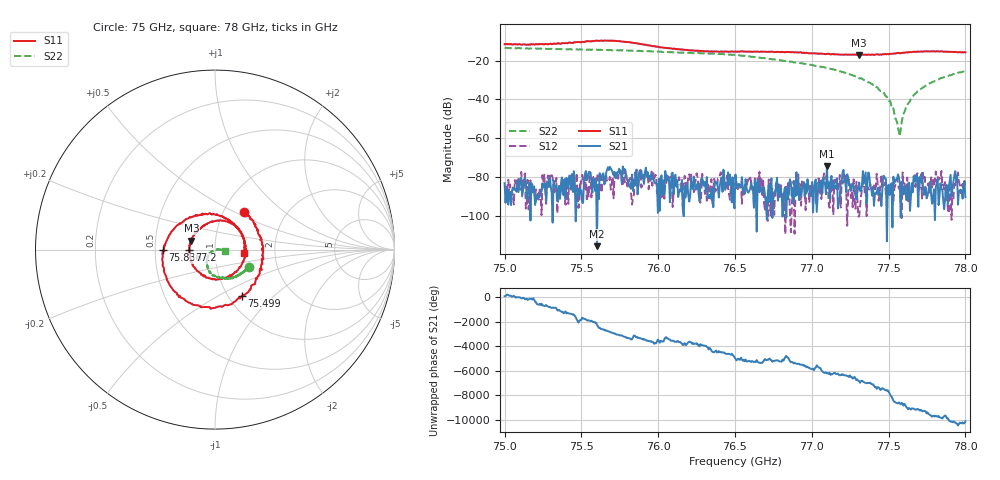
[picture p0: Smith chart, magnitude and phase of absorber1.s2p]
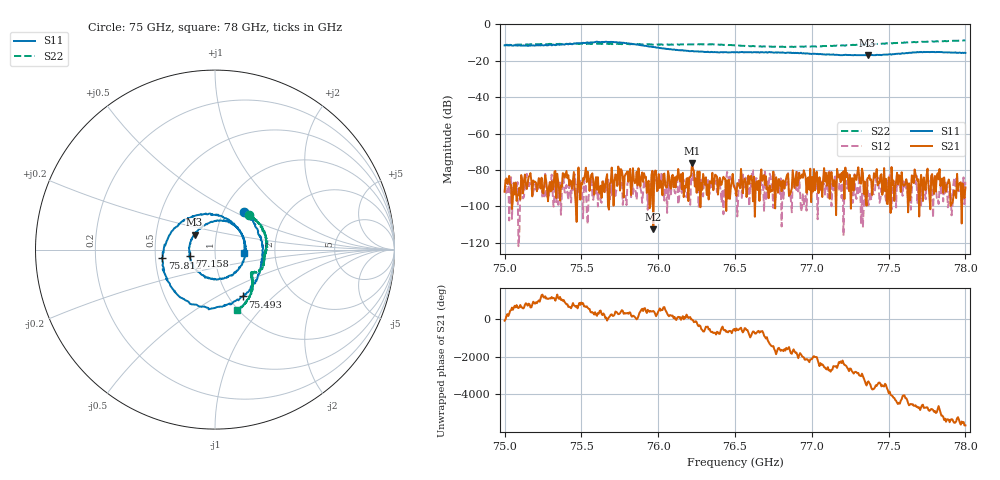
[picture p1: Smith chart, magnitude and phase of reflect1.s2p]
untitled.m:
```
% ----------------------------
% File paths
% ----------------------------
dut_file = 'absorber1.s2p';        % S2P file for the DUT (absorber)
ref_file = 'reflect1.s2p';   % S2P file for the reference (e.g., metal)

% ----------------------------
% Load S-parameter data
% ----------------------------
dut_data = sparameters(dut_file);
ref_data = sparameters(ref_file);

% Frequency vector (assumes both have same frequency points)
frequency = dut_data.Frequencies;  % in Hz

% Extract S11 (assumes 2-port file)
s11_dut = rfparam(dut_data, 2, 2);
s11_ref = rfparam(ref_data, 2, 2);

% ----------------------------
% Compute Reflected Power
% ----------------------------
P_dut = (-abs(s11_dut)+abs(s11_ref)).^2;
P_ref = abs(s11_dut).^2;

% Prevent division by zero
P_ref(P_ref == 0) = eps;

% ----------------------------
% Compute Absorption
% ----------------------------
absorption =1- P_dut./P_ref;
normalized_absorption = (absorption - 0) / (80000 - 0);


% Clip absorption to range [0, 1]
%absorption = min(max(absorption, 0), 1);

% ----------------------------
% Plot Absorption
% ----------------------------
figure;
plot(frequency/1e9, normalized_absorption, 'b-', 'LineWidth', 2);
xlabel('Frequency (GHz)');
ylabel('Absorption (Normalized)');
title('Absorption Profile from S11 Comparison');
grid on;
ylim([0 1.05]);
```
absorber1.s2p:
# Hz S RI R 50
! CMT, C4420, 21421029, 25.1.2/3
! Date: 8/5/2025 3:57:54 PM
! Data: Format (Calibration Info)
! Freq	S33:Re/Im(F2)	S43:Re/Im(F2)	S34:Re/Im(F2)	S44:Re/Im(F2)
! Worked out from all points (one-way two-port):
!   500 points, 75 GHz to 78 GHz, reference 50 ohm
!   highest |S21| = -74.30 dB at 77.098 GHz (marker M1); lowest = -115.6 dB at 75.601 GHz (marker M2)
!   lowest |S11| = -17.0 dB at 77.309 GHz (marker M3), VSWR 1.33, Z = 38.2 + j3.88 ohm
!   |S11| at or under -10 dB: start of sweep to 75.533 GHz; 75.5558 GHz to 75.56757 GHz (11.77 MHz wide, 0.0156 % of centre); 75.753 GHz to end of sweep
!   |S22| runs from -58.9 to -13.4 dB; largest |S21 - S12| = 0.00018
!   S11 on the Smith chart (normalised r, x): 75 GHz: 1.25, +0.56; 75.499 GHz: 1.16, -0.65; 75.836 GHz: 0.55, -0.00; 77.2 GHz: 0.75, -0.00; 78 GHz: 1.39, -0.06
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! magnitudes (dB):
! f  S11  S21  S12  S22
! 75 GHz  -11.5  -83.1  -85.6  -13.4
! 75.499 GHz  -10.5  -86.8  -83.4  -14.3
! 75.601 GHz  -9.6  -115.6  -80.8  -14.4
! 75.836 GHz  -10.8  -87.1  -90.8  -14.9
! 76.503 GHz  -15.4  -78.7  -84.3  -17.1
! 77.098 GHz  -16.5  -74.3  -80.8  -23.8
! 77.2 GHz  -16.9  -77.5  -83.4  -25.8
! 77.309 GHz  -17.0  -82.8  -100.3  -29.1
! 77.567 GHz  -16.0  -80.3  -85.9  -56.7
! 77.681 GHz  -15.5  -78.8  -79.8  -36.5
! 78 GHz  -15.7  -90.4  -85.2  -25.4
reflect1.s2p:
# Hz S RI R 50
! CMT, C4420, 21421029, 25.1.2/3
! Date: 8/5/2025 2:30:38 PM
! Data: Format (Calibration Info)
! Freq	S33:Re/Im(F2)	S43:Re/Im(F2)	S34:Re/Im(F2)	S44:Re/Im(F2)
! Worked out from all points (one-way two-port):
!   500 points, 75 GHz to 78 GHz, reference 50 ohm
!   highest |S21| = -76.25 dB at 76.22 GHz (marker M1); lowest = -112.6 dB at 75.968 GHz (marker M2)
!   lowest |S11| = -17.0 dB at 77.363 GHz (marker M3), VSWR 1.33, Z = 39.3 + j6.64 ohm
!   |S11| at or under -10 dB: start of sweep to 75.534 GHz; 75.54113 GHz to 75.55765 GHz (16.52 MHz wide, 0.0219 % of centre); 75.753 GHz to end of sweep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
!   |S22| runs from -12.5 to -8.9 dB; largest |S21 - S12| = 0.00015
!   S11 on the Smith chart (normalised r, x): 75 GHz: 1.25, +0.56; 75.493 GHz: 1.16, -0.67; 75.812 GHz: 0.54, -0.05; 77.158 GHz: 0.75, -0.05; 78 GHz: 1.39, -0.06
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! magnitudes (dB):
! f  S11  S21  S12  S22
! 75 GHz  -11.6  -92.0  -91.8  -11.3
! 75.493 GHz  -10.3  -96.4  -85.3  -10.7
! 75.667 GHz  -9.7  -82.3  -90.9  -10.6
! 75.812 GHz  -10.5  -81.2  -85.2  -10.9
! 75.968 GHz  -12.5  -112.6  -80.4  -11.2
! 76.22 GHz  -14.7  -76.3  -82.0  -11.0
! 76.503 GHz  -15.4  -90.5  -93.2  -11.6
! 77.158 GHz  -16.7  -104.9  -88.3  -11.7
! 77.363 GHz  -17.0  -84.6  -87.9  -11.0
! 77.699 GHz  -15.2  -105.6  -88.4  -9.8
! 78 GHz  -15.7  -89.7  -86.5  -8.9
